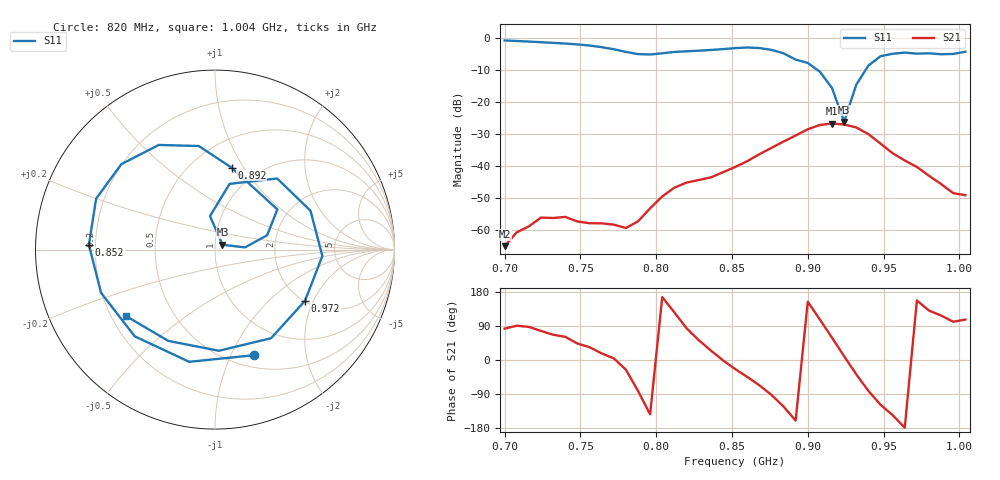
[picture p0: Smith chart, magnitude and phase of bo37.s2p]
# Hz S RI R 50
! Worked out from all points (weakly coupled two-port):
!   39 points, 700 MHz to 1.004 GHz, reference 50 ohm
!   highest |S21| = -26.61 dB at 916 MHz (marker M1); lowest = -64.9 dB at 700 MHz (marker M2)
!   lowest |S11| = -26.1 dB at 924 MHz (marker M3), VSWR 1.10, Z = 54.3 + j2.92 ohm
!   |S11| at or under -10 dB: 906.8 MHz to 938 MHz (31.24 MHz wide, 3.39 % of centre)
!   S12 and S22 are empty: the file has one direction only
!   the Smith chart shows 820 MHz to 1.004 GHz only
!   S11 on the Smith chart (normalised r, x): 820 MHz: 0.63, -1.23; 852 MHz: 0.17, +0.02; 892 MHz: 0.76, +0.88; 972 MHz: 2.02, -1.73; 1.004 GHz: 0.26, -0.31
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7e8  0.7651 0.5243  7.15e-05 0.000562  0 0  0 0
7.24e8  0.8323 -0.2568  0.000363 0.00154  0 0  0 0
7.4e8  0.4449 -0.7019  0.000783 0.00142  0 0  0 0
7.56e8  -0.1997 -0.7464  0.00107 0.00072  0 0  0 0
7.72e8  -0.6523 -0.1811  0.00122 9.47e-05  0 0  0 0
7.8e8  -0.5666 0.2387  0.000982 -0.000469  0 0  0 0
7.88e8  -0.1998 0.5316  0.000207 -0.00137  0 0  0 0
7.96e8  0.282 0.483  -0.00177 -0.00132  0 0  0 0
8.04e8  0.5736 0.1138  -0.00329 0.000821  0 0  0 0
8.2e8  0.2201 -0.588  0.000585 0.00554  0 0  0 0
8.36e8  -0.4469 -0.4833  0.00608 0.00286  0 0  0 0
8.52e8  -0.7026 0.0273  0.00892 -0.00391  0 0  0 0
8.76e8  -0.3133 0.5831  -0.000643 -0.0194  0 0  0 0
8.92e8  0.092 0.4567  -0.0285 -0.0104  0 0  0 0
9.08e8  0.2904 0.0799  -0.0127 0.0424  0 0  0 0
9.16e8  0.1676 0.0124  0.0241 0.04  0 0  0 0
9.24e8  0.0417 0.0268  0.0444 0.00769  0 0  0 0
9.4e8  0.0811 0.3663  0.00473 -0.0316  0 0  0 0
9.56e8  0.5322 0.2162  -0.0132 -0.00907  0 0  0 0
9.72e8  0.5014 -0.2855  -0.00902 0.0038  0 0  0 0
9.88e8  0.0215 -0.5637  -0.00242 0.00471  0 0  0 0
1.004e9  -0.4949 -0.3707  -0.00103 0.00339  0 0  0 0
